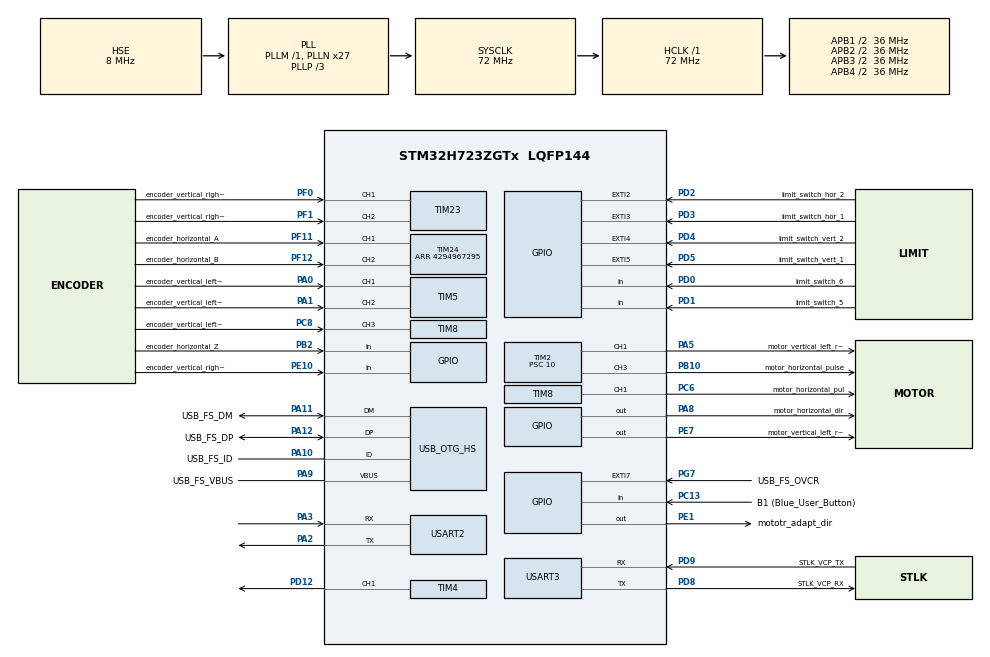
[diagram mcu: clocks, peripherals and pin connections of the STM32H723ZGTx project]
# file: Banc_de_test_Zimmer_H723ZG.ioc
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Dma.Request0=USART3_RX
Dma.Request1=USART2_TX
Dma.USART2_TX.1.Direction=DMA_MEMORY_TO_PERIPH
Dma.USART2_TX.1.EventEnable=DISABLE
Dma.USART2_TX.1.FIFOMode=DMA_FIFOMODE_DISABLE
Dma.USART2_TX.1.Instance=DMA1_Stream1
Dma.USART2_TX.1.MemDataAlignment=DMA_MDATAALIGN_BYTE
Dma.USART2_TX.1.MemInc=DMA_MINC_ENABLE
Dma.USART2_TX.1.Mode=DMA_NORMAL
Dma.USART2_TX.1.PeriphDataAlignment=DMA_PDATAALIGN_BYTE
Dma.USART2_TX.1.PeriphInc=DMA_PINC_DISABLE
Dma.USART2_TX.1.Polarity=HAL_DMAMUX_REQ_GEN_RISING
Dma.USART2_TX.1.Priority=DMA_PRIORITY_LOW
Dma.USART2_TX.1.RequestNumber=1
Dma.USART2_TX.1.SignalID=NONE
Dma.USART2_TX.1.SyncEnable=DISABLE
Dma.USART2_TX.1.SyncPolarity=HAL_DMAMUX_SYNC_NO_EVENT
Dma.USART2_TX.1.SyncRequestNumber=1
Dma.USART2_TX.1.SyncSignalID=NONE
Dma.USART3_RX.0.Direction=DMA_PERIPH_TO_MEMORY
Dma.USART3_RX.0.EventEnable=DISABLE
Dma.USART3_RX.0.FIFOMode=DMA_FIFOMODE_DISABLE
Dma.USART3_RX.0.Instance=DMA1_Stream0
Dma.USART3_RX.0.MemDataAlignment=DMA_MDATAALIGN_BYTE
Dma.USART3_RX.0.MemInc=DMA_MINC_ENABLE
Dma.USART3_RX.0.Mode=DMA_NORMAL
Dma.USART3_RX.0.PeriphDataAlignment=DMA_PDATAALIGN_BYTE
Dma.USART3_RX.0.PeriphInc=DMA_PINC_DISABLE
Dma.USART3_RX.0.Polarity=HAL_DMAMUX_REQ_GEN_RISING
Dma.USART3_RX.0.Priority=DMA_PRIORITY_LOW
Dma.USART3_RX.0.RequestNumber=1
Dma.USART3_RX.0.SignalID=NONE
Dma.USART3_RX.0.SyncEnable=DISABLE
Dma.USART3_RX.0.SyncPolarity=HAL_DMAMUX_SYNC_NO_EVENT
Dma.USART3_RX.0.SyncRequestNumber=1
Dma.USART3_RX.0.SyncSignalID=NONE
Mcu.Family=STM32H7
Mcu.Name=STM32H723ZGTx
Mcu.Package=LQFP144
NVIC.DMA1_Stream0_IRQn=true\:0\:0\:false\:false\:true\:false\:true\:true
NVIC.DMA1_Stream1_IRQn=true\:0\:0\:false\:false\:true\:false\:true\:true
NVIC.EXTI2_IRQn=true\:0\:0\:false\:false\:true\:true\:true\:true
NVIC.EXTI3_IRQn=true\:0\:0\:false\:false\:true\:true\:true\:true
NVIC.EXTI4_IRQn=true\:0\:0\:false\:false\:true\:true\:true\:true
NVIC.EXTI9_5_IRQn=true\:0\:0\:false\:false\:true\:true\:true\:true
NVIC.PriorityGroup=NVIC_PRIORITYGROUP_4
PA0.GPIO_Label=encoder_vertical_left_A
PA0.Signal=S_TIM5_CH1
PA1.GPIO_Label=encoder_vertical_left_B
PA1.Signal=S_TIM5_CH2
PA10.GPIO_Label=USB_FS_ID
PA10.Mode=OTG/Dual-Role-Device-FS
PA10.Signal=USB_OTG_HS_ID
PA11.GPIO_Label=USB_FS_DM
PA11.Mode=OTG/Dual-Role-Device-FS
PA11.Signal=USB_OTG_HS_DM
PA12.GPIO_Label=USB_FS_DP
PA12.Mode=OTG/Dual-Role-Device-FS
PA12.Signal=USB_OTG_HS_DP
PA13(JTMS/SWDIO).GPIO_Label=SWDIO
PA13(JTMS/SWDIO).Mode=Trace_Asynchronous_SW
PA13(JTMS/SWDIO).Signal=DEBUG_JTMS-SWDIO
PA14(JTCK/SWCLK).GPIO_Label=SWCLK
PA14(JTCK/SWCLK).Mode=Trace_Asynchronous_SW
PA14(JTCK/SWCLK).Signal=DEBUG_JTCK-SWCLK
PA2.Mode=Asynchronous
PA2.Signal=USART2_TX
PA3.Mode=Asynchronous
PA3.Signal=USART2_RX
PA5.GPIO_Label=motor_vertical_left_right_pulse
PA5.Signal=S_TIM2_CH1_ETR
PA8.GPIO_Label=motor_horizontal_dir
PA8.Signal=GPIO_Output
PA9.GPIO_Label=USB_FS_VBUS
PA9.Mode=Activate_VBUS_FS
PA9.Signal=USB_OTG_HS_VBUS
PB10.GPIO_Label=motor_horizontal_pulse
PB10.Signal=S_TIM2_CH3
PB2.GPIO_Label=encoder_horizontal_Z
PB2.Signal=GPIO_Input
PB3(JTDO/TRACESWO).GPIO_Label=SWO
PB3(JTDO/TRACESWO).Mode=Trace_Asynchronous_SW
PB3(JTDO/TRACESWO).Signal=DEBUG_JTDO-SWO
PC13.GPIO_Label=B1 (Blue_User_Button)
PC13.Signal=GPIO_Input
PC14-OSC32_IN.Mode=LSE-External-Oscillator
PC14-OSC32_IN.Signal=RCC_OSC32_IN
PC15-OSC32_OUT.Mode=LSE-External-Oscillator
PC15-OSC32_OUT.Signal=RCC_OSC32_OUT
PC6.GPIO_Label=motor_horizontal_pul
PC6.Signal=S_TIM8_CH1
PC8.GPIO_Label=encoder_vertical_left_Z
PC8.Signal=S_TIM8_CH3
PD0.GPIO_Label=limit_switch_6
PD0.Signal=GPIO_Input
PD1.GPIO_Label=limit_switch_5
PD1.Signal=GPIO_Input
PD12.Signal=S_TIM4_CH1
PD2.GPIO_Label=limit_switch_hor_2
PD2.Signal=GPXTI2
PD3.GPIO_Label=limit_switch_hor_1
PD3.Signal=GPXTI3
PD4.GPIO_Label=limit_switch_vert_2
PD4.Signal=GPXTI4
PD5.GPIO_Label=limit_switch_vert_1
PD5.Signal=GPXTI5
PD8.GPIO_Label=STLK_VCP_RX
PD8.Mode=Asynchronous
PD8.Signal=USART3_TX
PD9.GPIO_Label=STLK_VCP_TX
PD9.Mode=Asynchronous
PD9.Signal=USART3_RX
PE1.GPIO_Label=mototr_adapt_dir
PE1.Signal=GPIO_Output
PE10.GPIO_Label=encoder_vertical_right_Z
PE10.Signal=GPIO_Input
PE7.GPIO_Label=motor_vertical_left_right_dir
PE7.Signal=GPIO_Output
PF0.GPIO_Label=encoder_vertical_right_A
PF0.Mode=Encoder_Interface
PF0.Signal=TIM23_CH1
PF1.GPIO_Label=encoder_vertical_right_B
PF1.Signal=S_TIM23_CH2
PF11.GPIO_Label=encoder_horizontal_A
PF11.Mode=Encoder_Interface
PF11.Signal=TIM24_CH1
PF12.GPIO_Label=encoder_horizontal_B
PF12.Signal=S_TIM24_CH2
PG7.GPIO_Label=USB_FS_OVCR
PG7.Signal=GPXTI7
PH0-OSC_IN.GPIO_Label=MCO
PH0-OSC_IN.Mode=HSE-External-Oscillator
PH0-OSC_IN.Signal=RCC_OSC_IN
PH1-OSC_OUT.Mode=HSE-External-Oscillator
PH1-OSC_OUT.Signal=RCC_OSC_OUT
ProjectManager.HeapSize=0x200
ProjectManager.StackSize=0x400
ProjectManager.TargetToolchain=MDK-ARM V5.32
RCC.ADCFreq_Value=38400000
RCC.APB1Freq_Value=36000000
RCC.APB2Freq_Value=36000000
RCC.APB3Freq_Value=36000000
RCC.APB4Freq_Value=36000000
RCC.CortexFreq_Value=72000000
RCC.D1PPRE=RCC_APB3_DIV2
RCC.D2PPRE1=RCC_APB1_DIV2
RCC.D2PPRE2=RCC_APB2_DIV2
RCC.D3PPRE=RCC_APB4_DIV2
RCC.DIVM1=1
RCC.DIVM2=1
RCC.DIVN1=27
RCC.DIVN2=24
RCC.DIVP1=3
RCC.DIVP2=5
RCC.DIVQ1=4
RCC.HCLKFreq_Value=72000000
RCC.HSE_VALUE=8000000
RCC.PLL2FRACN=0
RCC.PLLFRACN=0
RCC.PLLSourceVirtual=RCC_PLLSOURCE_HSE
RCC.SYSCLKFreq_VALUE=72000000
RCC.SYSCLKSource=RCC_SYSCLKSOURCE_PLLCLK
RCC.USBCLockSelection=RCC_USBCLKSOURCE_HSI48
RCC.USBFreq_Value=48000000
SH.S_TIM23_CH2.0=TIM23_CH2,Encoder_Interface
SH.S_TIM24_CH2.0=TIM24_CH2,Encoder_Interface
SH.S_TIM2_CH1_ETR.0=TIM2_CH1,PWM Generation1 CH1
SH.S_TIM2_CH3.0=TIM2_CH3,PWM Generation3 CH3
SH.S_TIM4_CH1.0=TIM4_CH1,PWM Generation1 CH1
SH.S_TIM5_CH1.0=TIM5_CH1,Encoder_Interface
SH.S_TIM5_CH2.0=TIM5_CH2,Encoder_Interface
SH.S_TIM8_CH1.0=TIM8_CH1,PWM Generation1 CH1
SH.S_TIM8_CH3.0=TIM8_CH3,Input_Capture3_from_TI3
TIM2.AutoReloadPreload=TIM_AUTORELOAD_PRELOAD_ENABLE
TIM2.Channel-PWM\ Generation1\ CH1=TIM_CHANNEL_1
TIM2.Channel-PWM\ Generation3\ CH3=TIM_CHANNEL_3
TIM2.Period=65535
TIM2.Prescaler=10
TIM23.AutoReloadPreload=TIM_AUTORELOAD_PRELOAD_ENABLE
TIM23.EncoderMode=TIM_ENCODERMODE_TI12
TIM23.IC1Filter=10
TIM24.AutoReloadPreload=TIM_AUTORELOAD_PRELOAD_ENABLE
TIM24.EncoderMode=TIM_ENCODERMODE_TI12
TIM24.IC1Filter=10
TIM24.Period=4294967295
TIM4.AutoReloadPreload=TIM_AUTORELOAD_PRELOAD_ENABLE
TIM4.Channel-PWM\ Generation1\ CH1=TIM_CHANNEL_1
TIM4.Prescaler=0
TIM5.AutoReloadPreload=TIM_AUTORELOAD_PRELOAD_ENABLE
TIM5.EncoderMode=TIM_ENCODERMODE_TI12
TIM5.IC1Filter=10
TIM8.AutoReloadPreload=TIM_AUTORELOAD_PRELOAD_ENABLE
TIM8.Channel-Input_Capture3_from_TI3=TIM_CHANNEL_3
TIM8.Channel-PWM\ Generation1\ CH1=TIM_CHANNEL_1
TIM8.Prescaler=10
USART2.VirtualMode-Asynchronous=VM_ASYNC
USART3.VirtualMode-Asynchronous=VM_ASYNC
VP_TIM2_VS_ClockSourceINT.Mode=Internal
VP_TIM4_VS_ClockSourceINT.Mode=Internal
VP_TIM8_VS_ClockSourceINT.Mode=Internal
board=NUCLEO-H723ZG

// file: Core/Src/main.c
/* USER CODE BEGIN Header */
/**
  ******************************************************************************
  * @file           : main.c
  * @brief          : Main program body
  ******************************************************************************
  * @attention
  *
  * Copyright (c) 2023 STMicroelectronics.
  * All rights reserved.
  *
  * This software is licensed under terms that can be found in the LICENSE file
  * in the root directory of this software component.
  * If no LICENSE file comes with this software, it is provided AS-IS.
  *
  ******************************************************************************
  */
/* USER CODE END Header */
#include "main.h"
#include "dma.h"
#include "tim.h"
#include "usart.h"
#include "usb_otg.h"
#include "gpio.h"

/* USER CODE BEGIN Includes */
#include <stdio.h>
#include "Encoders/encoder.h"
#include "Serial_Communication/serial_com.h"
#include "Motor_Control/motor_control.h"
#include "Motor_Control/motor.h"

/* USER CODE END Includes */

void SystemClock_Config(void);

/* USER CODE BEGIN 0 */
uint8_t rx_buffer[10];
uint32_t tx_buffer[1];

/**
 * @brief
 * Callback function called when receiving data from the GUI
 *
 * @param huart The UART channel to read from on the STM32
 */
void HAL_UART_RxCpltCallback(UART_HandleTypeDef * huart)
{
    HAL_UART_Receive_DMA(&huart3, rx_buffer, 4);
}
/* USER CODE END 0 */

int main(void)
{

  /* MCU Configuration--------------------------------------------------------*/

  /* Reset of all peripherals, Initializes the Flash interface and the Systick. */
  HAL_Init();

  /* Configure the system clock */
  SystemClock_Config();

  /* Initialize all configured peripherals */
  MX_GPIO_Init();
  MX_DMA_Init();
  MX_TIM4_Init();
  MX_TIM8_Init();
  MX_TIM23_Init();
  MX_TIM24_Init();
  MX_USART2_UART_Init();
  MX_USART3_UART_Init();
  MX_USB_OTG_HS_USB_Init();
  MX_TIM2_Init();
  MX_TIM5_Init();
  /* USER CODE BEGIN 2 */

  /* TIMERS */
  /* Start the timer for Encoder 1 */
  HAL_TIM_Encoder_Start(&htim5, TIM_CHANNEL_ALL);

  /* Start the timer for Encoder 2 */
  HAL_TIM_Encoder_Start(&htim23, TIM_CHANNEL_ALL);

  /* DMA */
  HAL_UART_Receive_DMA(&huart3, rx_buffer, 4);

  /* STRUCTURES */
  SerialDataIn serial_data_in = {
    .buffer           = rx_buffer,
    .mode             = 0u,
    .id               = 0u,
    .command          = 0u,
    .previous_command = 0u,
    .data             = 0u,
  };

  SerialDataOut serial_data_out = {
    .buffer           = tx_buffer,
    .message_to_send  = 0u,
    .uart_channel     = &huart3,
    .size_buffer      = sizeof(tx_buffer),
  };

  Encoder encoder_array[NUMBER_OF_ENCODERS];
  encoder_init(encoder_array);

  Motor motor_array[NUMBER_MOTOR];
  motor_init(motor_array, encoder_array);

  /* USER CODE END 2 */

  /* Infinite loop */
  /* USER CODE BEGIN WHILE */
  while (1)
  {
    /* Read commands coming from the GUI */
    serial_data_parser(&serial_data_in);

    /* Dispatch commands to the motors */
    motor_control_dispatch(&serial_data_in, &serial_data_out, motor_array);

    HAL_Delay(100);

    /* USER CODE END WHILE */

  }
}

void SystemClock_Config(void)
{
  RCC_OscInitTypeDef RCC_OscInitStruct = {0};
  RCC_ClkInitTypeDef RCC_ClkInitStruct = {0};

  /** Supply configuration update enable
  */
  HAL_PWREx_ConfigSupply(PWR_LDO_SUPPLY);

  /** Configure the main internal regulator output voltage
  */
  __HAL_PWR_VOLTAGESCALING_CONFIG(PWR_REGULATOR_VOLTAGE_SCALE3);

  while(!__HAL_PWR_GET_FLAG(PWR_FLAG_VOSRDY)) {}

  /** Initializes the RCC Oscillators according to the specified parameters
  * in the RCC_OscInitTypeDef structure.
  */
  RCC_OscInitStruct.OscillatorType = RCC_OSCILLATORTYPE_HSI48|RCC_OSCILLATORTYPE_HSE;
  RCC_OscInitStruct.HSEState = RCC_HSE_ON;
  RCC_OscInitStruct.HSI48State = RCC_HSI48_ON;
  RCC_OscInitStruct.PLL.PLLState = RCC_PLL_ON;
  RCC_OscInitStruct.PLL.PLLSource = RCC_PLLSOURCE_HSE;
  RCC_OscInitStruct.PLL.PLLM = 1;
  RCC_OscInitStruct.PLL.PLLN = 27;
  RCC_OscInitStruct.PLL.PLLP = 3;
  RCC_OscInitStruct.PLL.PLLQ = 4;
  RCC_OscInitStruct.PLL.PLLR = 2;
  RCC_OscInitStruct.PLL.PLLRGE = RCC_PLL1VCIRANGE_3;
  RCC_OscInitStruct.PLL.PLLVCOSEL = RCC_PLL1VCOWIDE;
  RCC_OscInitStruct.PLL.PLLFRACN = 0;
  if (HAL_RCC_OscConfig(&RCC_OscInitStruct) != HAL_OK)
  {
    Error_Handler();
  }

  /** Initializes the CPU, AHB and APB buses clocks
  */
  RCC_ClkInitStruct.ClockType = RCC_CLOCKTYPE_HCLK|RCC_CLOCKTYPE_SYSCLK
                              |RCC_CLOCKTYPE_PCLK1|RCC_CLOCKTYPE_PCLK2
                              |RCC_CLOCKTYPE_D3PCLK1|RCC_CLOCKTYPE_D1PCLK1;
  RCC_ClkInitStruct.SYSCLKSource = RCC_SYSCLKSOURCE_PLLCLK;
  RCC_ClkInitStruct.SYSCLKDivider = RCC_SYSCLK_DIV1;
  RCC_ClkInitStruct.AHBCLKDivider = RCC_HCLK_DIV1;
  RCC_ClkInitStruct.APB3CLKDivider = RCC_APB3_DIV2;
  RCC_ClkInitStruct.APB1CLKDivider = RCC_APB1_DIV2;
  RCC_ClkInitStruct.APB2CLKDivider = RCC_APB2_DIV2;
  RCC_ClkInitStruct.APB4CLKDivider = RCC_APB4_DIV2;

  if (HAL_RCC_ClockConfig(&RCC_ClkInitStruct, FLASH_LATENCY_2) != HAL_OK)
  {
    Error_Handler();
  }
}

void Error_Handler(void)
{
  __disable_irq();
  while (1)
  {
  }
}
